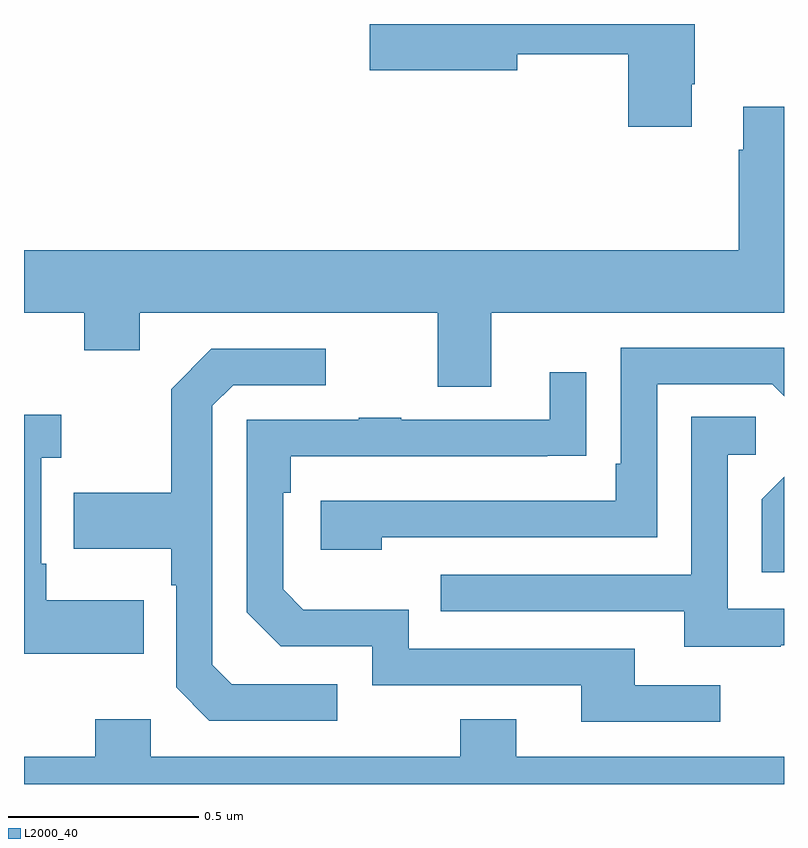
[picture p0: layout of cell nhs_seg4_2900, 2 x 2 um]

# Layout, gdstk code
import gdstk
lib = gdstk.Library(unit=1e-6, precision=1e-09)
def P(c, l, *ps):  # polygons
    for p in ps: c.add(gdstk.Polygon(p, *l))
L2000_40 = (2000, 40)

nhs_seg4_2900 = lib.new_cell('nhs_seg4_2900')
P(nhs_seg4_2900, L2000_40, [(147.757,810.742),(147.765,810.742),(147.765,810.9),(146.91,810.9),(146.91,810.778),(147.298,810.778),(147.298,810.82),(147.59,810.82),(147.59,810.63),(147.757,810.63)],
  [(147.229,810.14),(148,810.14),(148,810.682),(147.893,810.682),(147.893,810.569),(147.881,810.569),(147.881,810.304),(146,810.304),(146,810.14),(146.158,810.14),(146.158,810.041),(146.305,810.041),(146.305,810.14),(147.089,810.14),(147.089,809.946),(147.229,809.946)],
  [(146.942,809.55),(147.666,809.55),(147.666,809.952),(147.969,809.952),(148,809.921),(148,810.048),(147.57,810.048),(147.57,809.743),(147.557,809.743),(147.557,809.646),(146.781,809.646),(146.781,809.516),(146.942,809.516)],
  [(146.824,809.163),(146.547,809.163),(146.496,809.214),(146.496,809.895),(146.55,809.949),(146.794,809.949),(146.794,810.045),(146.493,810.045),(146.388,809.939),(146.388,809.667),(146.131,809.667),(146.131,809.519),(146.388,809.519),(146.388,809.423),(146.4,809.423),(146.4,809.154),(146.487,809.067),(146.824,809.067)],
  [(147.832,809.16),(147.607,809.16),(147.607,809.256),(147.012,809.256),(147.012,809.359),(146.735,809.359),(146.682,809.412),(146.682,809.666),(146.702,809.666),(146.702,809.763),(147.377,809.763),(147.377,809.764),(147.479,809.764),(147.479,809.983),(147.383,809.983),(147.383,809.859),(146.993,809.859),(146.993,809.864),(146.881,809.864),(146.881,809.859),(146.586,809.859),(146.586,809.352),(146.676,809.262),(146.916,809.262),(146.916,809.16),(147.467,809.16),(147.467,809.064),(147.832,809.064)],
  [(146.315,809.383),(146.059,809.383),(146.059,809.479),(146.046,809.479),(146.046,809.759),(146.098,809.759),(146.098,809.872),(146,809.872),(146,809.243),(146.315,809.243)],
  [(147.991,809.265),(148,809.265),(148,809.361),(147.852,809.361),(147.852,809.766),(147.925,809.766),(147.925,809.867),(147.756,809.867),(147.756,809.451),(147.097,809.451),(147.097,809.355),(147.737,809.355),(147.737,809.261),(147.991,809.261)],
  [(148,809.708),(147.942,809.65),(147.942,809.457),(148,809.457)],
  [(148,808.972),(147.295,808.972),(147.295,809.071),(147.148,809.071),(147.148,808.972),(146.334,808.972),(146.334,809.071),(146.188,809.071),(146.188,808.972),(146,808.972),(146,808.9),(148,808.9)])

lib.write_gds('nhs_seg4_2900.gds')
